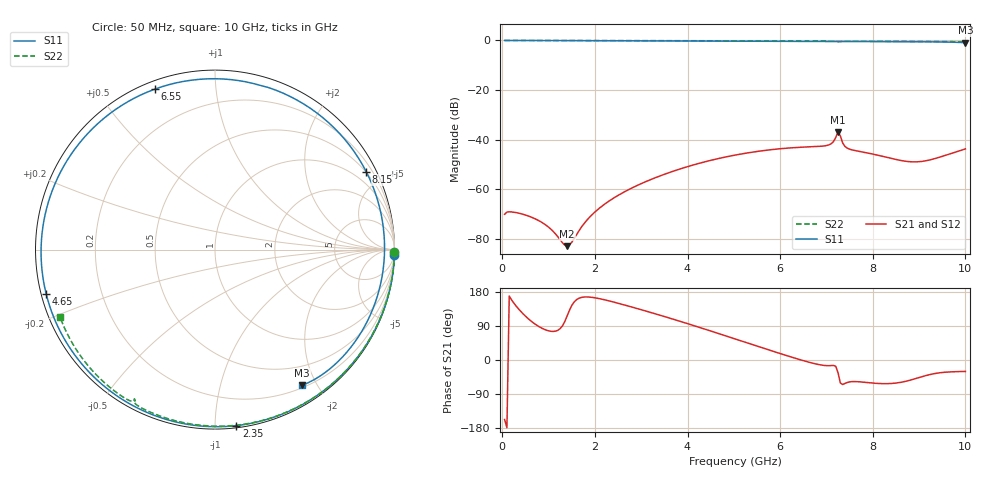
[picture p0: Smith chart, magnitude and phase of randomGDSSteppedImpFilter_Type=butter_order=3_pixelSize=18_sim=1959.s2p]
! freq	dB(S11)	phase(S11)	dB(S12)	phase(S12)
!  dB(S21)	phase(S21)	dB(S22)	phase(S22)
!S-par simulation data
#  GHz  S  DB  R 50
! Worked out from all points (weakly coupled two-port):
!   200 points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, 50 MHz to 10 GHz, reference 50 ohm
!   highest |S21| = -36.92 dB at 7.25 GHz (marker M1); lowest = -83.1 dB at 1.4 GHz (marker M2)
!   lowest |S11| = -0.9 dB at 10 GHz (marker M3), VSWR 18.63, Z = 11.6 - j90.3 ohm
!   |S11| at or under -10 dB: nowhere
!   |S22| runs from -0.5 to 0.0 dB; largest |S21 - S12| = 0
!   S11 on the Smith chart (normalised r, x): 50 MHz: 0, -63; 2.35 GHz: 0.01, -1.13; 4.65 GHz: 0.01, -0.13; 6.55 GHz: 0.03, +0.69; 8.15 GHz: 0.48, +4.08; 10 GHz: 0.23, -1.81
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0.05  -0.00 -1.8  -70.19 -157.1  -70.19 -157.1  -0.00 -0.9
0.2  -0.00 -7.2  -69.24 158.7  -69.24 158.7  -0.00 -3.7
0.6  -0.02 -21.6  -71.14 104.8  -71.14 104.8  -0.01 -10.9
0.95  -0.04 -34.1  -74.67 78.8  -74.67 78.8  -0.02 -17.2
1.25  -0.06 -44.7  -80.49 82.8  -80.49 82.8  -0.03 -22.6
1.4  -0.06 -50.0  -83.07 116.0  -83.07 116.0  -0.03 -25.2
1.55  -0.07 -55.2  -79.99 152.9  -79.99 152.9  -0.04 -27.9
1.75  -0.08 -62.2  -74.32 166.0  -74.32 166.0  -0.04 -31.4
2.35  -0.11 -83.1  -64.29 154.6  -64.29 154.6  -0.05 -41.8
3.4  -0.16 -119.6  -54.74 118.4  -54.74 118.4  -0.08 -59.5
4.65  -0.24 -165.3  -47.75 70.6  -47.75 70.6  -0.12 -79.5
5.05  -0.28 178.8  -46.21 54.7  -46.21 54.7  -0.13 -85.7
5.8  -0.34 146.6  -44.11 24.9  -44.11 24.9  -0.16 -97.0
6.55  -0.40 110.6  -43.03 -3.5  -43.03 -3.5  -0.21 -108.0
6.7  -0.41 103.0  -42.91 -8.3  -42.91 -8.3  -0.22 -110.2
7.1  -0.44 82.3  -41.74 -14.7  -41.74 -14.7  -0.26 -116.2
7.25  -0.45 74.5  -36.92 -33.6  -36.92 -33.6  -0.49 -118.4
7.45  -0.44 63.8  -43.50 -59.3  -43.50 -59.3  -0.29 -120.3
8.15  -0.47 27.2  -46.51 -62.1  -46.51 -62.1  -0.32 -130.4
8.35  -0.47 17.2  -47.41 -62.3  -47.41 -62.3  -0.34 -133.2
9.1  -0.53 -18.3  -48.74 -42.7  -48.74 -42.7  -0.42 -143.7
10  -0.93 -57.3  -43.78 -30.1  -43.78 -30.1  -0.52 -156.4
